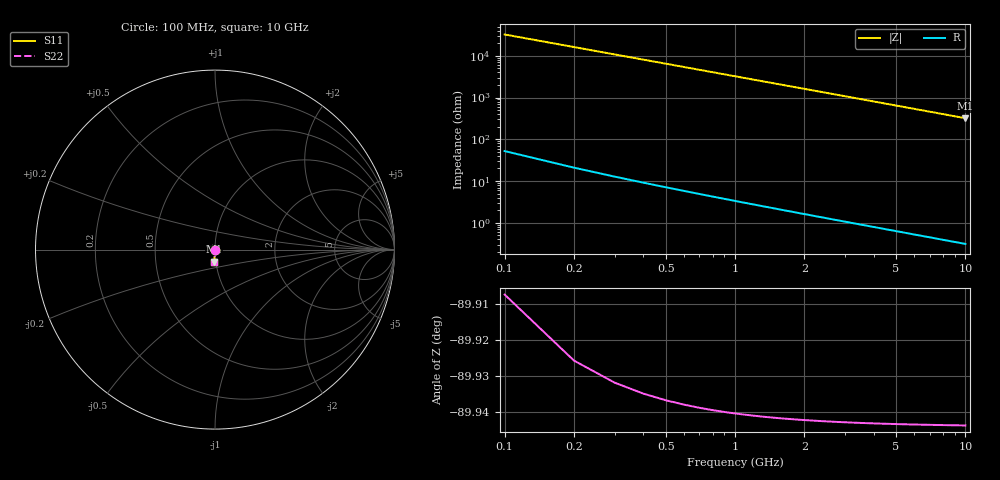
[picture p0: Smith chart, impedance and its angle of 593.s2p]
# Hz S RI R 50.00
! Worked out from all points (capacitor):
!   100 points, 100 MHz to 10 GHz, reference 50 ohm
!   read as one part in shunt: C = 49.3 fF near 100 MHz
!   lowest |Z| = 319 ohm at 10 GHz (marker M1)
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1e8  4.12e-05 -0.000667  1 -0.000882  1 -0.000882  4.12e-05 -0.000667
2e8  3.9e-05 -0.00133  1 -0.00176  1 -0.00176  3.9e-05 -0.00133
3e8  3.55e-05 -0.002  0.9999 -0.00265  0.9999 -0.00265  3.55e-05 -0.002
4e8  3.08e-05 -0.00267  0.9999 -0.00353  0.9999 -0.00353  3.08e-05 -0.00267
5e8  2.49e-05 -0.00333  0.9999 -0.00441  0.9999 -0.00441  2.49e-05 -0.00333
6e8  1.79e-05 -0.004  0.9999 -0.00529  0.9999 -0.00529  1.79e-05 -0.004
7e8  9.58e-06 -0.00467  0.9999 -0.00618  0.9999 -0.00618  9.58e-06 -0.00467
8e8  1.11e-07 -0.00533  0.9999 -0.00706  0.9999 -0.00706  1.11e-07 -0.00533
9e8  -1.05e-05 -0.006  0.9999 -0.00794  0.9999 -0.00794  -1.05e-05 -0.006
1.1e9  -3.54e-05 -0.00734  0.9999 -0.00971  0.9999 -0.00971  -3.54e-05 -0.00734
1.4e9  -8.16e-05 -0.00934  0.9998 -0.0124  0.9998 -0.0124  -8.16e-05 -0.00934
1.8e9  -0.00016 -0.012  0.9997 -0.0159  0.9997 -0.0159  -0.00016 -0.012
2.1e9  -0.000231 -0.014  0.9997 -0.0185  0.9997 -0.0185  -0.000231 -0.014
2.5e9  -0.000342 -0.0167  0.9996 -0.0221  0.9996 -0.0221  -0.000342 -0.0167
2.9e9  -0.000473 -0.0194  0.9994 -0.0256  0.9994 -0.0256  -0.000473 -0.0194
3.4e9  -0.000663 -0.0227  0.9992 -0.0301  0.9992 -0.0301  -0.000663 -0.0227
4.2e9  -0.00103 -0.0281  0.9988 -0.0372  0.9988 -0.0372  -0.00103 -0.0281
5.1e9  -0.00153 -0.0341  0.9983 -0.0451  0.9983 -0.0451  -0.00153 -0.0341
5.9e9  -0.00207 -0.0395  0.9978 -0.0523  0.9978 -0.0523  -0.00207 -0.0395
6.7e9  -0.00267 -0.0448  0.9971 -0.0594  0.9971 -0.0594  -0.00267 -0.0448
8.4e9  -0.00423 -0.0563  0.9955 -0.0745  0.9955 -0.0745  -0.00423 -0.0563
1e10  -0.00601 -0.067  0.9937 -0.0888  0.9937 -0.0888  -0.00601 -0.067
